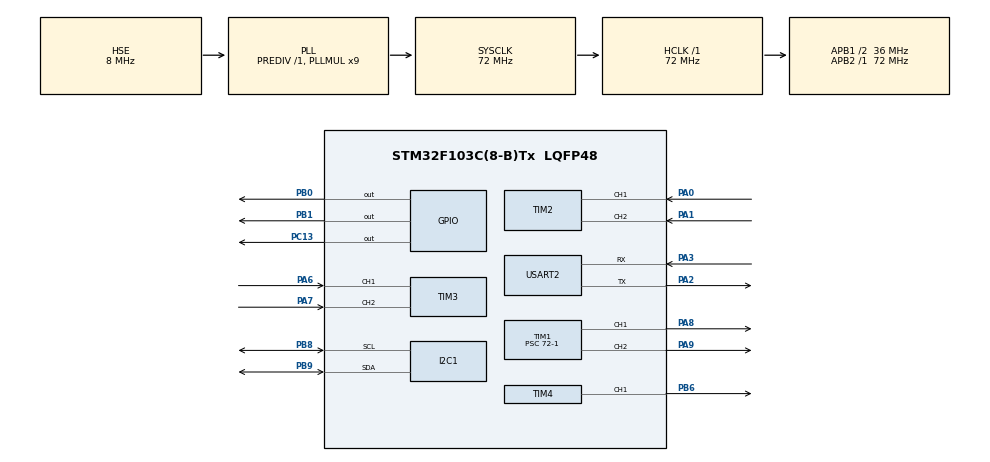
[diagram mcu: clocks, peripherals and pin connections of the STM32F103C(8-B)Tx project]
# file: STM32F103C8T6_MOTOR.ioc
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Mcu.Family=STM32F1
Mcu.Name=STM32F103C(8-B)Tx
Mcu.Package=LQFP48
NVIC.PriorityGroup=NVIC_PRIORITYGROUP_4
NVIC.USART2_IRQn=true\:6\:0\:true\:false\:true\:true\:true
PA0-WKUP.GPIO_PuPd=GPIO_PULLUP
PA0-WKUP.Signal=S_TIM2_CH1_ETR
PA1.GPIO_PuPd=GPIO_PULLUP
PA1.Signal=S_TIM2_CH2
PA13.Mode=Serial_Wire
PA13.Signal=SYS_JTMS-SWDIO
PA14.Mode=Serial_Wire
PA14.Signal=SYS_JTCK-SWCLK
PA2.Mode=Asynchronous
PA2.Signal=USART2_TX
PA3.Mode=Asynchronous
PA3.Signal=USART2_RX
PA6.Signal=S_TIM3_CH1
PA7.Signal=S_TIM3_CH2
PA8.Signal=S_TIM1_CH1
PA9.Signal=S_TIM1_CH2
PB0.GPIO_PuPd=GPIO_PULLUP
PB0.PinState=GPIO_PIN_SET
PB0.Signal=GPIO_Output
PB1.GPIO_PuPd=GPIO_PULLUP
PB1.PinState=GPIO_PIN_SET
PB1.Signal=GPIO_Output
PB6.Signal=S_TIM4_CH1
PB8.Mode=I2C
PB8.Signal=I2C1_SCL
PB9.Mode=I2C
PB9.Signal=I2C1_SDA
PC13-TAMPER-RTC.PinState=GPIO_PIN_SET
PC13-TAMPER-RTC.Signal=GPIO_Output
PD0-OSC_IN.Mode=HSE-External-Oscillator
PD0-OSC_IN.Signal=RCC_OSC_IN
PD1-OSC_OUT.Mode=HSE-External-Oscillator
PD1-OSC_OUT.Signal=RCC_OSC_OUT
ProjectManager.HeapSize=0x200
ProjectManager.StackSize=0x400
ProjectManager.TargetToolchain=MDK-ARM V5.27
RCC.AHBFreq_Value=72000000
RCC.APB1CLKDivider=RCC_HCLK_DIV2
RCC.APB1Freq_Value=36000000
RCC.APB1TimFreq_Value=72000000
RCC.APB2Freq_Value=72000000
RCC.APB2TimFreq_Value=72000000
RCC.HCLKFreq_Value=72000000
RCC.PLLMUL=RCC_PLL_MUL9
RCC.PLLSourceVirtual=RCC_PLLSOURCE_HSE
RCC.SYSCLKFreq_VALUE=72000000
RCC.SYSCLKSource=RCC_SYSCLKSOURCE_PLLCLK
RCC.USBFreq_Value=72000000
SH.S_TIM1_CH1.0=TIM1_CH1,PWM Generation1 CH1
SH.S_TIM1_CH2.0=TIM1_CH2,PWM Generation2 CH2
SH.S_TIM2_CH1_ETR.0=TIM2_CH1,Encoder_Interface
SH.S_TIM2_CH2.0=TIM2_CH2,Encoder_Interface
SH.S_TIM3_CH1.0=TIM3_CH1,Encoder_Interface
SH.S_TIM3_CH2.0=TIM3_CH2,Encoder_Interface
SH.S_TIM4_CH1.0=TIM4_CH1,PWM Generation1 CH1
TIM1.Channel-PWM\ Generation1\ CH1=TIM_CHANNEL_1
TIM1.Channel-PWM\ Generation2\ CH2=TIM_CHANNEL_2
TIM1.Period=20000-1
TIM1.Prescaler=72-1
TIM2.EncoderMode=TIM_ENCODERMODE_TI12
TIM3.EncoderMode=TIM_ENCODERMODE_TI12
TIM3.IC2Polarity=TIM_ICPOLARITY_FALLING
TIM4.Channel-PWM\ Generation1\ CH1=TIM_CHANNEL_1
TIM4.Period=1000-1
TIM4.Prescaler=72-1
USART2.VirtualMode=VM_ASYNC
VP_TIM1_VS_ClockSourceINT.Mode=Internal
VP_TIM4_VS_ClockSourceINT.Mode=Internal
board=custom

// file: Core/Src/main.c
/* USER CODE BEGIN Header */
/**
  ******************************************************************************
  * @file           : main.c
  * @brief          : Main program body
  ******************************************************************************
  * @attention
  *
  * <h2><center>&copy; Copyright (c) 2026 STMicroelectronics.
  * All rights reserved.</center></h2>
  *
  * This software component is licensed by ST under BSD 3-Clause license,
  * the "License"; You may not use this file except in compliance with the
  * License. You may obtain a copy of the License at:
  *                        opensource.org/licenses/BSD-3-Clause
  *
  ******************************************************************************
  */
/* USER CODE END Header */
#include "main.h"
#include "i2c.h"
#include "tim.h"
#include "usart.h"
#include "gpio.h"

/* USER CODE BEGIN Includes */
#include "oled.h"
#include "SG90.h"
#include "encode.h"
#include "DCmotor.h"
#include "modbus.h"

/* USER CODE END Includes */

void SystemClock_Config(void);

int main(void)
{
  /* USER CODE BEGIN 1 */

	int16_t delta = 0;
	char str[32] ={0};

	// 定义系统计时
	uint32_t pid_time = 0;

  /* USER CODE END 1 */

  /* MCU Configuration--------------------------------------------------------*/

  /* Reset of all peripherals, Initializes the Flash interface and the Systick. */
  HAL_Init();

  /* Configure the system clock */
  SystemClock_Config();

  /* Initialize all configured peripherals */
  MX_GPIO_Init();
  MX_TIM1_Init();
  MX_TIM2_Init();
  MX_I2C1_Init();
  MX_TIM3_Init();
  MX_TIM4_Init();
  MX_USART2_UART_Init();
  /* USER CODE BEGIN 2 */

	oled_init();

//	HAL_TIM_PWM_Start(&htim1, TIM_CHANNEL_1);
//	HAL_TIM_PWM_Start(&htim1, TIM_CHANNEL_2);
//
//	init_ec11_encode_tim();
	init_BMQ370_encode_tim();
	Motor_init();

	// 初始化开启接收
	uint8_t rx_byte;
	HAL_UART_Receive_IT(&huart2, &rx_byte, 1);

	 oled_clear(0);
	// Motor_Run(1, 50);

	//set_duty(10);

  /* USER CODE END 2 */

  /* Infinite loop */
  while (1)
  {

    /* USER CODE BEGIN 3 */

//		HAL_GPIO_TogglePin(GPIOC, GPIO_PIN_13);
//		HAL_Delay(1000);

//		set_SG90_angle(0);
//		HAL_Delay(1000);
//		set_SG90_angle(90);
//		HAL_Delay(1000);
//		set_SG90_angle(180);
//		HAL_Delay(1000);
//		set_SG90_angle(90);
//		HAL_Delay(1000);
//

//		    // 1. 匀速
//    SG90_Uniform(0, 180, 1000);
//    SG90_Uniform(180, 0, 1000);

//    // 2. 两段梯形
//    SG90_Trapezoid_2Phase(0, 180, 1000);
//    SG90_Trapezoid_2Phase(180, 0, 1000);

//    // 3. 三次S曲线（你现在用的）
//    SG90_S_Curve_3rd(0, 180, 1000);
//    SG90_S_Curve_3rd(180, 0, 1000);

//			if (0 == Modbus_Parse())// 解析指令
//			{
//				Motor_Run(motor_cmd,motor_target_speed); // 执行电机
//			}
//
//
//			delta = get_BMQ370_encode_delte();
//			sprintf(str, "delta:%05d", delta);
//			oled_show_string(0, 0, str);
//			sprintf(str, "cmd:%02d", motor_cmd);
//			oled_show_string(0, 4, str);
//			sprintf(str, "speed:%02d", motor_target_speed);
//			oled_show_string(0, 6, str);
//			HAL_Delay(1000);

		 	Modbus_Parse();

			if (HAL_GetTick()-pid_time >= 100)
			{
				pid_time = HAL_GetTick();
				Motor_PID_Loop();
		//		motor_real_speed = get_BMQ370_encode_delte();
				sprintf(str, "target:%03d", motor_target_speed);
				oled_show_string(0, 0, str);
				sprintf(str, "real:%03d", motor_real_speed);
				oled_show_string(0, 2, str);
			}
//

  }
  /* USER CODE END 3 */
}

void SystemClock_Config(void)
{
  RCC_OscInitTypeDef RCC_OscInitStruct = {0};
  RCC_ClkInitTypeDef RCC_ClkInitStruct = {0};

  /** Initializes the RCC Oscillators according to the specified parameters
  * in the RCC_OscInitTypeDef structure.
  */
  RCC_OscInitStruct.OscillatorType = RCC_OSCILLATORTYPE_HSE;
  RCC_OscInitStruct.HSEState = RCC_HSE_ON;
  RCC_OscInitStruct.HSEPredivValue = RCC_HSE_PREDIV_DIV1;
  RCC_OscInitStruct.HSIState = RCC_HSI_ON;
  RCC_OscInitStruct.PLL.PLLState = RCC_PLL_ON;
  RCC_OscInitStruct.PLL.PLLSource = RCC_PLLSOURCE_HSE;
  RCC_OscInitStruct.PLL.PLLMUL = RCC_PLL_MUL9;
  if (HAL_RCC_OscConfig(&RCC_OscInitStruct) != HAL_OK)
  {
    Error_Handler();
  }
  /** Initializes the CPU, AHB and APB buses clocks
  */
  RCC_ClkInitStruct.ClockType = RCC_CLOCKTYPE_HCLK|RCC_CLOCKTYPE_SYSCLK
                              |RCC_CLOCKTYPE_PCLK1|RCC_CLOCKTYPE_PCLK2;
  RCC_ClkInitStruct.SYSCLKSource = RCC_SYSCLKSOURCE_PLLCLK;
  RCC_ClkInitStruct.AHBCLKDivider = RCC_SYSCLK_DIV1;
  RCC_ClkInitStruct.APB1CLKDivider = RCC_HCLK_DIV2;
  RCC_ClkInitStruct.APB2CLKDivider = RCC_HCLK_DIV1;

  if (HAL_RCC_ClockConfig(&RCC_ClkInitStruct, FLASH_LATENCY_2) != HAL_OK)
  {
    Error_Handler();
  }
}

void Error_Handler(void)
{
}

/************************ (C) COPYRIGHT STMicroelectronics *****END OF FILE****/
